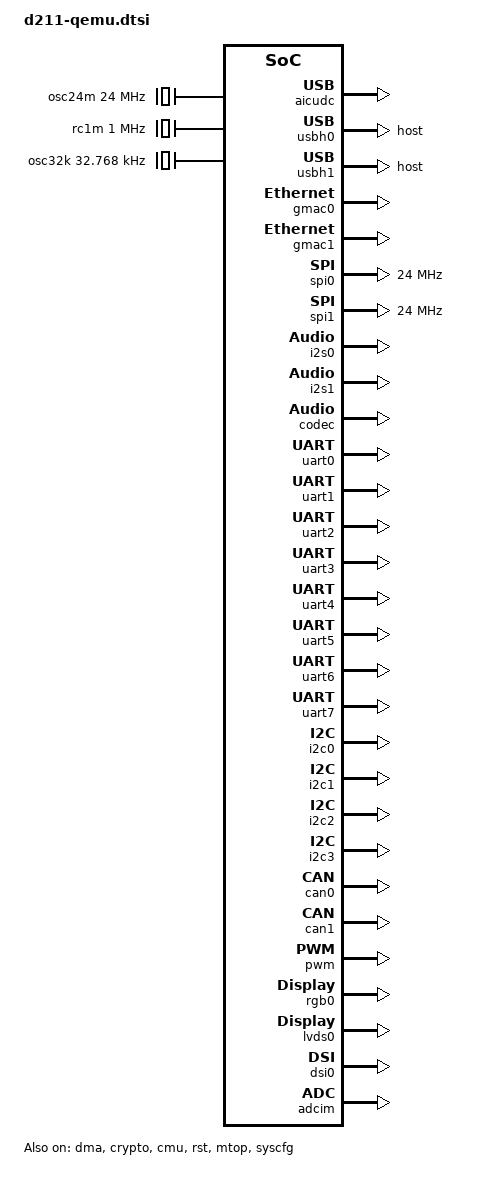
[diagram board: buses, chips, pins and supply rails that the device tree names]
/*
 * Copyright (C) 2020-2022 ArtInChip Technology Co., Ltd.
 *
 * This file is dual-licensed: you can use it either under the terms
 * of the GPL or the X11 license, at your option. Note that this dual
 * licensing only applies to this file, and not this project as a
 * whole.
 *
 *  a) This library is free software; you can redistribute it and/or
 *     modify it under the terms of the GNU General Public License as
 *     published by the Free Software Foundation; either version 2 of the
 *     License, or (at your option) any later version.
 *
 *     This library is distributed in the hope that it will be useful,
 *     but WITHOUT ANY WARRANTY; without even the implied warranty of
 *     MERCHANTABILITY or FITNESS FOR A PARTICULAR PURPOSE.  See the
 *     GNU General Public License for more details.
 *
 * Or, alternatively,
 *
 *  b) Permission is hereby granted, free of charge, to any person
 *     obtaining a copy of this software and associated documentation
 *     files (the "Software"), to deal in the Software without
 *     restriction, including without limitation the rights to use,
 *     copy, modify, merge, publish, distribute, sublicense, and/or
 *     sell copies of the Software, and to permit persons to whom the
 *     Software is furnished to do so, subject to the following
 *     conditions:
 *
 *     The above copyright notice and this permission notice shall be
 *     included in all copies or substantial portions of the Software.
 *
 *     THE SOFTWARE IS PROVIDED "AS IS", WITHOUT WARRANTY OF ANY KIND,
 *     EXPRESS OR IMPLIED, INCLUDING BUT NOT LIMITED TO THE WARRANTIES
 *     OF MERCHANTABILITY, FITNESS FOR A PARTICULAR PURPOSE AND
 *     NONINFRINGEMENT. IN NO EVENT SHALL THE AUTHORS OR COPYRIGHT
 *     HOLDERS BE LIABLE FOR ANY CLAIM, DAMAGES OR OTHER LIABILITY,
 *     WHETHER IN AN ACTION OF CONTRACT, TORT OR OTHERWISE, ARISING
 *     FROM, OUT OF OR IN CONNECTION WITH THE SOFTWARE OR THE USE OR
 *     OTHER DEALINGS IN THE SOFTWARE.
 */

#include <dt-bindings/clock/artinchip,aic-cmu.h>
#include <dt-bindings/reset/artinchip,aic-reset.h>
#include <dt-bindings/dma/d211-dma.h>
#include <dt-bindings/interrupt-controller/irq.h>

/ {
	#address-cells = <2>;
	#size-cells = <2>;

	chosen {
		opensbi-domains {
			compatible = "opensbi,domain,config";

			device: device {
				compatible = "opensbi,domain,memregion";
				base = <0x0 0x00000000>;
				order = <30>;
				mmio;
			};

			mem0: mem {
				compatible = "opensbi,domain,memregion";
				base = <0x0 0x80000000>;
				order = <30>;
			};

			pmp_domain: pmp_domain {
				compatible = "opensbi,domain,instance";
				possible-harts = <&cpu0>;
				regions = <&device 0x3>, <&mem0 0x7>;
				boot-hart = <&cpu0>;
				system-reset-allowed;
			};
		};
	};
	cpus {
		#address-cells = <1>;
		#size-cells = <0>;
		timebase-frequency = <10000000>;

		cpu0: cpu@0 {
			device_type = "cpu";
			reg = <0>;
			status = "okay";
			compatible = "riscv";
			riscv,isa = "rv64gcxthead";
			mmu-type = "riscv,sv39";
			cpu-icache = "32KB";
			cpu-dcache = "32KB";
			cpu-tlb = "1024 4-ways";
			cpu-cacheline = "64Bytes";
			opensbi-domain = <&pmp_domain>;
			cpu0_intc: interrupt-controller {
				#interrupt-cells = <1>;
				compatible = "riscv,cpu-intc";
				interrupt-controller;
			};
		};
	};

	clocks {
		osc24m: clock-hosc {
			#clock-cells = <0>;
			compatible = "fixed-clock";
			clock-frequency = <24000000>;
			clock-output-names = "osc24m";
		};

		rc1m: clock-mosc {
			#clock-cells = <0>;
			compatible = "fixed-clock";
			clock-frequency = <1000000>;
			clock-output-names = "rc1m";
		};

		osc32k: clock-losc {
			#clock-cells = <0>;
			compatible = "fixed-clock";
			clock-frequency = <32768>;
			clock-output-names = "osc32k";
		};
	};

	soc {
		#address-cells = <2>;
		#size-cells = <2>;
		compatible = "simple-bus";
		ranges;

		clint0: clint@2000000 {
			compatible = "riscv,clint0";
			interrupts-extended = <&cpu0_intc 3 &cpu0_intc 7>;
			reg = <0x0 0x2000000 0x0 0x10000>;
			clint,has-no-64bit-mmio;
		};

		plic0: interrupt-controller@c000000 {
			#interrupt-cells = <2>;
			compatible = "riscv,plic0";
			interrupt-controller;
			interrupts-extended = <&cpu0_intc 0xffffffff &cpu0_intc 9>;
			reg = <0x0 0xc000000 0x0 0x400000>;
			reg-names = "control";
			riscv,max-priority = <7>;
			riscv,ndev=<159>;
		};

		dma: dma-controller@10000004 {
			compatible = "artinchip,aic-dma-v1.0";
			reg = <0x0 0x20000000 0x0 0x1000>;
			interrupts-extended = <&plic0 32 IRQ_TYPE_LEVEL_HIGH>;
			clocks = <&cmu CLK_DMA>;
			resets = <&rst RESET_DMA>;
			#dma-cells = <1>;
			status = "okay";
		};

		crypto: crypto-engine@10020000 {
			compatible = "artinchip,aic-crypto-v1.0";
			reg = <0x0 0x20020000 0x0 0x1000>;
			interrupts-extended = <&plic0 33 IRQ_TYPE_LEVEL_HIGH>;
			clocks = <&cmu CLK_CE>;
			resets = <&rst RESET_CE>;
			status = "okay";
		};

		aicudc: udc@10200000 {
			compatible = "artinchip,aic-udc-v1.0";
			reg = <0x0 0x10200000 0x0 0x1000>;
			interrupts-extended = <&plic0 34 IRQ_TYPE_LEVEL_HIGH>;
			clocks = <&cmu CLK_USBD>, <&cmu CLK_USB_PHY0>;
			clock-names = "udc_clk";
			resets = <&rst RESET_USBD>, <&rst RESET_USBPHY0>;
			reset-names = "aicudc", "aicudc-ecc";
			status = "okay";
			// phys = <&usbphy0>;
			// phy-names = "usb2-phy";
		};

		usbh0: usb@10210000 {
			compatible = "artinchip,aic-usbh-v1.0";
			reg = <0x0 0x20210000 0x0 0x100>;
			interrupts-extended = <&plic0 35 IRQ_TYPE_LEVEL_HIGH>, <&plic0 4 IRQ_TYPE_LEVEL_HIGH>;
			clocks = <&cmu CLK_USBH0>;
			clock-names = "usbh";
			resets = <&rst RESET_USBH0>;
			reset-names = "usbh";
			dr_mode = "host";
			// phys = <&usbphy0>;
			// phy-names = "usb2-phy";
		};

		usbh1: usb@10220000 {
			compatible = "artinchip,aic-usbh-v1.0";
			reg = <0x0 0x20220000 0x0 0x100>;
			interrupts-extended = <&plic0 37 IRQ_TYPE_LEVEL_HIGH>,
								<&plic0 38 IRQ_TYPE_LEVEL_HIGH>;
			clocks = <&cmu CLK_USBH1>;
			clock-names = "usbh";
			resets = <&rst RESET_USBH1>, <&rst RESET_USBPHY1>;
			reset-names = "usbh", "usbh-phy";
			dr_mode = "host";
			// phys = <&usbphy1>;
			// phy-names = "usb2-phy";
		};

		usbphy: phy {
			compatible = "artinchip,aic-usb-phy";
			status = "disabled";
			#address-cells = <1>;
			#size-cells = <1>;

			usbphy0: usb-phy@1020004 {
				#phy-cells = <0>;
				reg = <0x0 0x1020004 0x0 0x400>;
				clocks = <&cmu CLK_USB_PHY0>;
				clock-names = "phyclk";
				resets = <&rst RESET_USBPHY0>;
				reset-names = "usbphy";
			};

			usbphy1: usb-phy@10210004 {
				#phy-cells = <0>;
				reg = <0x0 0x1021004 0x0 0x400>;
				clocks = <&cmu CLK_USB_PHY1>;
				clock-names = "phyclk";
				resets = <&rst RESET_USBPHY1>;
				reset-names = "usbphy";
			};
		};

		gmac0: ethernet@10280000 {
			compatible = "artinchip,aic-gmac";
			#local-mac-address = [2e f6 01 e3 76 b6];
			reg = <0x0 0x20280000 0x0 0x10000>;
			interrupts-extended = <&plic0 39 IRQ_TYPE_LEVEL_HIGH>;
			interrupt-names = "macirq";
			clocks = <&cmu CLK_GMAC0>;
			clock-names = "gmac";
			resets = <&rst RESET_GMAC0>;
			reset-names = "gmac";
		};

		gmac1: ethernet@10290000 {
			compatible = "artinchip,aic-gmac";
			#local-mac-address = [2e f6 01 e3 76 b7];
			reg = <0x0 0x20290000 0x0 0x10000>;
			interrupts-extended = <&plic0 40 IRQ_TYPE_LEVEL_HIGH>;
			interrupt-names = "macirq";
			clocks = <&cmu CLK_GMAC1>;
			clock-names = "gmac";
			resets = <&rst RESET_GMAC1>;
			reset-names = "gmac";
		};

		spi0: spi@10400000 {
			compatible = "artinchip,aic-spi";
			reg = <0x0 0x20400000 0x0 0x1000>;
			interrupts-extended = <&plic0 44 IRQ_TYPE_LEVEL_HIGH>;
			clocks = <&cmu CLK_SPI0>;
			resets = <&rst RESET_SPI0>;
			dmas = <&dma DMA_SPI0>, <&dma DMA_SPI0>;
			dma-names = "rx", "tx";
			#address-cells = <1>;
			#size-cells = <0>;
			clock-frequency = <24000000>;
		};

		spi1: spi@10410000 {
			compatible = "artinchip,aic-spi";
			reg = <0x0 0x20410000 0x0 0x1000>;
			interrupts-extended = <&plic0 45 IRQ_TYPE_LEVEL_HIGH>;
			clocks = <&cmu CLK_SPI1>;
			resets = <&rst RESET_SPI1>;
			dmas = <&dma DMA_SPI1>, <&dma DMA_SPI1>;
			dma-names = "rx", "tx";
			#address-cells = <1>;
			#size-cells = <0>;
			clock-frequency = <24000000>;
		};

		pbus: pbus@107F0000 {
			compatible = "artinchip,aic-pbus-v1.0";
			reg = <0x0 0x207F0000 0x0 0x1000>;
			clocks = <&cmu CLK_PBUS>;
			resets = <&rst RESET_PBUS>;
		};

		sdmc0: sdmc@10440000 {
			compatible = "artinchip,aic-sdmc";
			reg = <0x0 0x20440000 0x0 0x1000>;
			interrupts-extended = <&plic0 46 IRQ_TYPE_LEVEL_HIGH>;
			clocks = <&cmu CLK_SDMC0>;
			clock-names = "ciu";
			resets = <&rst RESET_SDMC0>;
			reset-names = "reset";
			#address-cells = <1>;
			#size-cells = <0>;
			max-frequency = <24000000>;
			clock-frequency = <48000000>;
			bus-width = <4>;
			fifo-depth = <128>;
		};

		sdmc1: sdmc@10450000 {
			compatible = "artinchip,aic-sdmc";
			reg = <0x0 0x20450000 0x0 0x1000>;
			interrupts-extended = <&plic0 47 IRQ_TYPE_LEVEL_HIGH>;
			clocks = <&cmu CLK_SDMC1>;
			clock-names = "ciu";
			resets = <&rst RESET_SDMC1>;
			reset-names = "reset";
			#address-cells = <1>;
			#size-cells = <0>;
			max-frequency = <24000000>;
			clock-frequency = <48000000>;
			bus-width = <4>;
			fifo-depth = <128>;
		};

		sdmc2: sdmc@10460000 {
			compatible = "artinchip,aic-sdmc";
			reg = <0x0 0x20460000 0x0 0x1000>;
			interrupts-extended = <&plic0 48 IRQ_TYPE_LEVEL_HIGH>;
			clocks = <&cmu CLK_SDMC2>;
			clock-names = "ciu";
			resets = <&rst RESET_SDMC2>;
			reset-names = "reset";
			#address-cells = <1>;
			#size-cells = <0>;
		};

		cmu: clock@18020000 {
			compatible = "artinchip,aic-cmu-v1.0";
			reg = <0 0x20020000 0 0x1000>;
			clocks = <&osc24m>, <&rc1m>, <&osc32k>;
			clock-names = "osc24m", "rc1m", "osc32k";
			#clock-cells = <1>;
			status = "okay";
		};

		rst: reset@18020004 {
			compatible = "artinchip,aic-reset-v1.0";
			reg = <0 0x20020000 0 0x1000>;
			#reset-cells = <1>;
			status = "okay";
		};

		rtc: rtc@18030000 {
			compatible = "artinchip,aic-rtc-v1.0";
			reg = <0x0 0x20030000 0x0 0x1000>;
			interrupts-extended = <&plic0 50 IRQ_TYPE_LEVEL_HIGH>;
			clocks = <&cmu CLK_RTC>;
			resets = <&rst RESET_RTC>;
		};

		mtop: mtop@184ff000 {
			compatible = "artinchip,aic-mtop";
			reg = <0x0 0x204ff000 0x0 0x1000>;
			interrupts-extended = <&plic0 51 IRQ_TYPE_LEVEL_HIGH>;
			clocks = <&cmu CLK_MTOP>;
			resets = <&rst RESET_MTOP>;
			status = "okay";
		};

		syscfg: syscfg@18000000 {
			compatible = "artinchip,aic-syscfg";
			reg = <0x0 0x20000000 0x0 0x1000>;
			clocks = <&cmu CLK_SYSCFG>;
			resets = <&rst RESET_SYSCFG>;
			status = "okay";
		};

		i2s0: i2s@18600000 {
			#sound-dai-cells = <0>;
			compatible = "artinchip,aic-i2s-v1.0";
			reg = <0x0 0x22600000 0x0 0x400>;
			interrupts-extended = <&plic0 52 IRQ_TYPE_LEVEL_HIGH>;
			clocks = <&cmu CLK_I2S0>;
			resets = <&rst RESET_I2S0>;
			dmas = <&dma DMA_I2S0>, <&dma DMA_I2S0>;
			dma-names = "rx", "tx";
		};

		i2s1: i2s@18601000 {
			#sound-dai-cells = <0>;
			compatible = "artinchip,aic-i2s-v1.0";
			reg = <0x0 0x22601000 0x0 0x400>;
			interrupts-extended = <&plic0 53 IRQ_TYPE_LEVEL_HIGH>;
			clocks = <&cmu CLK_I2S1>;
			resets = <&rst RESET_I2S1>;
			dmas = <&dma DMA_I2S1>, <&dma DMA_I2S1>;
			dma-names = "rx", "tx";
		};

		codec: codec@18610000 {
			#sound-dai-cells = <0>;
			compatible = "artinchip,aic-codec-v1.0";
			reg = <0x0 0x22610000 0x0 0x400>;
			interrupts-extended = <&plic0 54 IRQ_TYPE_LEVEL_HIGH>;
			clocks = <&cmu CLK_CODEC>;
			resets = <&rst RESET_CODEC>;
			dmas = <&dma DMA_CODEC>, <&dma DMA_CODEC>;
			dma-names = "rx", "tx";
		};

		pinctrl: pinctrl@19200000 {
			compatible = "artinchip,aic-pinctrl-v1.0";
			reg = <0x0  0x23200000 0x0  0x800>;
		};

		uart0: serial@10000000 {
			compatible = "artinchip,aic-uart", "snps,dw-apb-uart", "ns16550a";
			reg = <0x0  0x10000000 0x0  0x100>;
			interrupts-extended = <&plic0 10 IRQ_TYPE_LEVEL_HIGH>;
			clocks = <&cmu CLK_UART0>;
			clock-frequency = <3686400>;
			resets = <&rst RESET_UART0>;
			dmas = <&dma DMA_UART0>, <&dma DMA_UART0>;
			dma-names = "rx", "tx";
		};

		uart1: serial@19211000 {
			compatible = "artinchip,aic-uart";
			reg = <0x0 0x19211000 0x0 0x400>;
			interrupts-extended = <&plic0 77 IRQ_TYPE_LEVEL_HIGH>;
			reg-shift = <2>;
			reg-io-width = <4>;
			clocks = <&cmu CLK_UART1>;
			resets = <&rst RESET_UART1>;
			dmas = <&dma DMA_UART1>, <&dma DMA_UART1>;
			dma-names = "rx", "tx";
		};

		uart2: serial@19212000 {
			compatible = "artinchip,aic-uart";
			reg = <0x0 0x19212000 0x0 0x400>;
			interrupts-extended = <&plic0 78 IRQ_TYPE_LEVEL_HIGH>;
			reg-shift = <2>;
			reg-io-width = <4>;
			clocks = <&cmu CLK_UART2>;
			resets = <&rst RESET_UART2>;
			dmas = <&dma DMA_UART2>, <&dma DMA_UART2>;
			dma-names = "rx", "tx";
		};

		uart3: serial@19213000 {
			compatible = "artinchip,aic-uart";
			reg = <0x0 0x19213000 0x0 0x400>;
			interrupts-extended = <&plic0 79 IRQ_TYPE_LEVEL_HIGH>;
			reg-shift = <2>;
			reg-io-width = <4>;
			clocks = <&cmu CLK_UART3>;
			resets = <&rst RESET_UART3>;
			dmas = <&dma DMA_UART3>, <&dma DMA_UART3>;
			dma-names = "rx", "tx";
		};

		uart4: serial@19214000 {
			compatible = "artinchip,aic-uart";
			reg = <0x0 0x19214000 0x0 0x400>;
			interrupts-extended = <&plic0 80 IRQ_TYPE_LEVEL_HIGH>;
			reg-shift = <2>;
			reg-io-width = <4>;
			clocks = <&cmu CLK_UART4>;
			resets = <&rst RESET_UART4>;
			dmas = <&dma DMA_UART4>, <&dma DMA_UART4>;
			dma-names = "rx", "tx";
		};

		uart5: serial@19215000 {
			compatible = "artinchip,aic-uart";
			reg = <0x0 0x19215000 0x0 0x400>;
			interrupts-extended = <&plic0 81 IRQ_TYPE_LEVEL_HIGH>;
			reg-shift = <2>;
			reg-io-width = <4>;
			clocks = <&cmu CLK_UART5>;
			resets = <&rst RESET_UART5>;
			dmas = <&dma DMA_UART5>, <&dma DMA_UART5>;
			dma-names = "rx", "tx";
		};

		uart6: serial@19216000 {
			compatible = "artinchip,aic-uart";
			reg = <0x0 0x19216000 0x0 0x400>;
			interrupts-extended = <&plic0 82 IRQ_TYPE_LEVEL_HIGH>;
			reg-shift = <2>;
			reg-io-width = <4>;
			clocks = <&cmu CLK_UART6>;
			resets = <&rst RESET_UART6>;
			dmas = <&dma DMA_UART6>, <&dma DMA_UART6>;
			dma-names = "rx", "tx";
		};

		uart7: serial@19217000 {
			compatible = "artinchip,aic-uart";
			reg = <0x0 0x19217000 0x0 0x400>;
			interrupts-extended = <&plic0 83 IRQ_TYPE_LEVEL_HIGH>;
			reg-shift = <2>;
			reg-io-width = <4>;
			clocks = <&cmu CLK_UART7>;
			resets = <&rst RESET_UART7>;
			dmas = <&dma DMA_UART7>, <&dma DMA_UART7>;
			dma-names = "rx", "tx";
		};

		i2c0: i2c@19220000 {
			compatible = "artinchip,aic-i2c";
			reg = <0x0 0x23220000 0x0 0x400>;
			interrupts-extended = <&plic0 84 IRQ_TYPE_LEVEL_HIGH>;
			clocks = <&cmu CLK_I2C0>;
			resets = <&rst RESET_I2C0>;
			#address-cells = <1>;
			#size-cells = <0>;
		};

		i2c1: i2c@19221000 {
			compatible = "artinchip,aic-i2c";
			reg = <0x0 0x23221000 0x0 0x400>;
			interrupts-extended = <&plic0 85 IRQ_TYPE_LEVEL_HIGH>;
			clocks = <&cmu CLK_I2C1>;
			resets = <&rst RESET_I2C1>;
			#address-cells = <1>;
			#size-cells = <0>;
		};

		i2c2: i2c@19222000 {
			compatible = "artinchip,aic-i2c";
			reg = <0x0 0x23222000 0x0 0x400>;
			interrupts-extended = <&plic0 86 IRQ_TYPE_LEVEL_HIGH>;
			clocks = <&cmu CLK_I2C2>;
			resets = <&rst RESET_I2C2>;
			#address-cells = <1>;
			#size-cells = <0>;
		};

		i2c3: i2c@19223000 {
			compatible = "artinchip,aic-i2c";
			reg = <0x0 0x23223000 0x0 0x400>;
			interrupts-extended = <&plic0 87 IRQ_TYPE_LEVEL_HIGH>;
			clocks = <&cmu CLK_I2C3>;
			resets = <&rst RESET_I2C3>;
			#address-cells = <1>;
			#size-cells = <0>;
		};

		can0: can@19230000 {
			compatible = "artc,artc-can";
			reg = <0x0 0x23230000 0x0 0x400>;
			interrupts-extended = <&plic0 88 IRQ_TYPE_LEVEL_HIGH>;
			clocks = <&cmu CLK_CAN0>;
			resets = <&rst RESET_CAN0>;
		};

		can1: can@19231000 {
			compatible = "artc,artc-can";
			reg = <0x0 0x23231000 0x0 0x400>;
			interrupts-extended = <&plic0 89 IRQ_TYPE_LEVEL_HIGH>;
			clocks = <&cmu CLK_CAN1>;
			resets = <&rst RESET_CAN1>;
		};

		pwm: pwm@19240000 {
			compatible = "artinchip,aic-pwm-v1.0";
			reg = <0x0 0x23240000 0x0 0x1000>;
			interrupts-extended = <&plic0 90 IRQ_TYPE_LEVEL_HIGH>;
			#pwm-cells = <3>;
			clocks = <&cmu CLK_PWM>, <&cmu CLK_PLL_INT1>;
			clock-names = "pwm", "sysclk";
			resets = <&rst RESET_PWM>;
			clock-rate = <24000000>;
		};

		cir: cir@19260000 {
			compatible = "artinchip,aic-cir";
			reg = <0x0 0x23260000 0x0 0x400>;
			interrupts-extended = <&plic0 95 IRQ_TYPE_LEVEL_HIGH>;
			clocks = <&cmu CLK_CIR>;
			resets = <&rst RESET_CIR>;
		};

		rgb0: rgb@18800000 {
			#address-cells = <1>;
			#size-cells = <0>;
			compatible = "artinchip,aic-rgb-v1.0";
			reg = <0x0 0x22800000 0x0 0x1000>;
			clocks = <&cmu CLK_RGB>, <&cmu CLK_SCLK>;
			clock-names = "rgb0", "sclk";
			resets = <&rst RESET_RGB>;
			reset-names = "rgb0";
		};

		lvds0: lvds@18810000 {
			#address-cells = <1>;
			#size-cells = <0>;
			compatible = "artinchip,aic-lvds-v1.0";
			reg = <0x0 0x22810000 0x0 0x1000>;
			clocks = <&cmu CLK_LVDS>, <&cmu CLK_SCLK>;
			clock-names = "lvds0", "sclk";
			resets = <&rst RESET_LVDS>;
			reset-names = "lvds0";
		};

		dsi0: dsi@18820000 {
			#address-cells = <1>;
			#size-cells = <0>;
			compatible = "artinchip,aic-mipi-dsi-v1.0";
			reg = <0x0 0x22820000 0x0 0x1000>;
			clocks = <&cmu CLK_MIPIDSI>, <&cmu CLK_SCLK>;
			clock-names = "dsi0", "sclk";
			resets = <&rst RESET_MIPIDSI>;
			reset-names = "dsi0";
			interrupts-extended = <&plic0 56 IRQ_TYPE_LEVEL_HIGH>;
			format = "rgb888";
			mode = "video-burst";
			lane_num = <4>;
			virtual_channel_num = <0>;
		};

		de0: de@18a00000 {
			#address-cells = <1>;
			#size-cells = <0>;
			compatible = "artinchip,aic-de-v1.0";
			reg = <0x0 0x22a00000 0x0 0x1000>;
			interrupts-extended = <&plic0 59 IRQ_TYPE_LEVEL_HIGH>;
			clocks = <&cmu CLK_DE>, <&cmu CLK_PIX>;
			clock-names = "de0", "pix";
			resets = <&rst RESET_DE>;
			reset-names = "de0";
			mclk = <200000000>;
		};

		display-fb {
			compatible = "artinchip,aic-framebuffer";
			#address-cells = <1>;
			#size-cells = <0>;

			fb0: fb@0 {
				reg = <0x0 0x0>;
			};
		};

		ge0: ge@18b00000 {
			#address-cells = <1>;
			#size-cells = <0>;
			compatible = "artinchip,aic-ge-v1.0";
			reg = <0x0 0x22b00000 0x0 0x1000>;
			interrupts-extended = <&plic0 60 IRQ_TYPE_LEVEL_HIGH>;
			clocks = <&cmu CLK_GE>;
			clock-names = "ge";
			resets = <&rst RESET_GE>;
			reset-names = "ge";
		};

		dvp0: dvp@18830000 {
			#address-cells = <1>;
			#size-cells = <0>;
			compatible = "artinchip,aic-dvp-v1.0";
			reg = <0x0 0x22830000 0x0 0x1000>;
			interrupts-extended = <&plic0 57 IRQ_TYPE_LEVEL_HIGH>;
			clocks = <&cmu CLK_DVP>;
			clock-rate = <200000000>;
			resets = <&rst RESET_DVP>;
		};

		wdt0: watchdog@19000000 {
			compatible = "artinchip,aic-wdt-v1.0";
			reg = <0x0 0x23000000 0x0 0x1000>;
			interrupts-extended = <&plic0 64 IRQ_TYPE_LEVEL_HIGH>;
			clocks = <&cmu CLK_WDOG>;
			resets = <&rst RESET_WDOG>;
		};

		adcim: adcim@19250000 {
			compatible = "artinchip,aic-adcim-v1.0";
			reg = <0x0 0x23250000 0x0 0x1000>;
			clocks = <&cmu CLK_ADCIM>;
			resets = <&rst RESET_ADCIM>;
		};

		gpai: gpai@19251000 {
			compatible = "artinchip,aic-gpai-v1.0";
			reg = <0x0 0x23251000 0x0 0x1000>;
			interrupts-extended = <&plic0 92 IRQ_TYPE_LEVEL_HIGH>;
			clocks = <&cmu CLK_GPAI>, <&cmu CLK_APB1>;
			clock-names = "gpai", "pclk";
			resets = <&rst RESET_GPAI>;
		};

		rtp: rtp@19252000 {
			compatible = "artinchip,aic-rtp-v1.0";
			reg = <0x0 0x23252000 0x0 0x1000>;
			interrupts-extended = <&plic0 93 IRQ_TYPE_LEVEL_HIGH>;
			clocks = <&cmu CLK_RTP>;
			resets = <&rst RESET_RTP>;
		};

		tsen: tsen@19253000 {
			compatible = "artinchip,aic-tsen-v1.0";
			reg = <0x0 0x23253000 0x0 0x1000>;
			interrupts-extended = <&plic0 94 IRQ_TYPE_LEVEL_HIGH>;
			clocks = <&cmu CLK_TSEN>, <&cmu CLK_APB1>;
			clock-names = "tsen", "pclk";
			resets = <&rst RESET_TSEN>;
		};
	};
};
